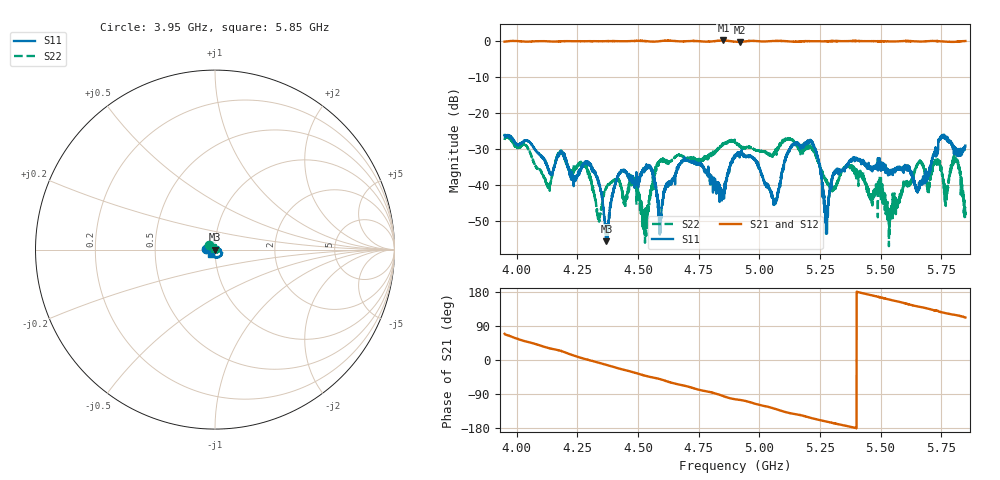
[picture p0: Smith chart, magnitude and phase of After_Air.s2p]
# GHZ S RI R 50.000000000000
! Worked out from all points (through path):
!   4501 points, 3.95 GHz to 5.85 GHz, reference 50 ohm
!   highest |S21| = 0.18 dB at 4.852 GHz (marker M1); lowest = -0.3 dB at 4.919 GHz (marker M2)
!   group delay of S21, straight-line fit = 455 ps
!   lowest |S11| = -55.7 dB at 4.37 GHz (marker M3), VSWR 1.00, Z = 50.2 - j0.0496 ohm
!   |S11| at or under -10 dB: start of sweep to end of sweep
!   |S22| runs from -57.1 to -26.6 dB; largest |S21 - S12| = 0.08
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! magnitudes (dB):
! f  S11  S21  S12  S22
! 3.95 GHz  -26.1  -0.2  -0.2  -27.6
! 4.13 GHz  -35.7  -0.1  -0.1  -40.6
! 4.267 GHz  -35.5  0.0  -0.1  -34.2
! 4.337 GHz  -39.2  0.0  -0.1  -49.4
! 4.37 GHz  -55.7  0.0  0.0  -40.9
! 4.433 GHz  -36.0  0.0  -0.1  -41.5
! 4.528 GHz  -35.6  0.0  0.0  -48.1
! 4.584 GHz  -47.2  0.0  -0.1  -34.6
! 4.689 GHz  -33.2  -0.1  -0.1  -32.4
! 4.852 GHz  -41.7  0.2  0.2  -28.7
! 4.9 GHz  -32.5  -0.2  -0.1  -28.2
! 4.919 GHz  -32.4  -0.3  -0.2  -29.3
! 5.064 GHz  -44.6  0.0  0.0  -30.7
! 5.129 GHz  -29.5  -0.1  -0.2  -27.2
! 5.217 GHz  -28.0  0.0  0.0  -30.0
! 5.277 GHz  -46.7  0.0  -0.1  -38.9
! 5.381 GHz  -33.0  0.0  0.0  -35.2
! 5.534 GHz  -36.5  -0.1  -0.1  -49.8
! 5.653 GHz  -41.6  -0.1  -0.1  -34.3
! 5.771 GHz  -27.4  -0.2  -0.2  -43.9
! 5.806 GHz  -29.7  -0.2  -0.3  -34.3
! 5.85 GHz  -29.1  0.0  0.0  -47.6
